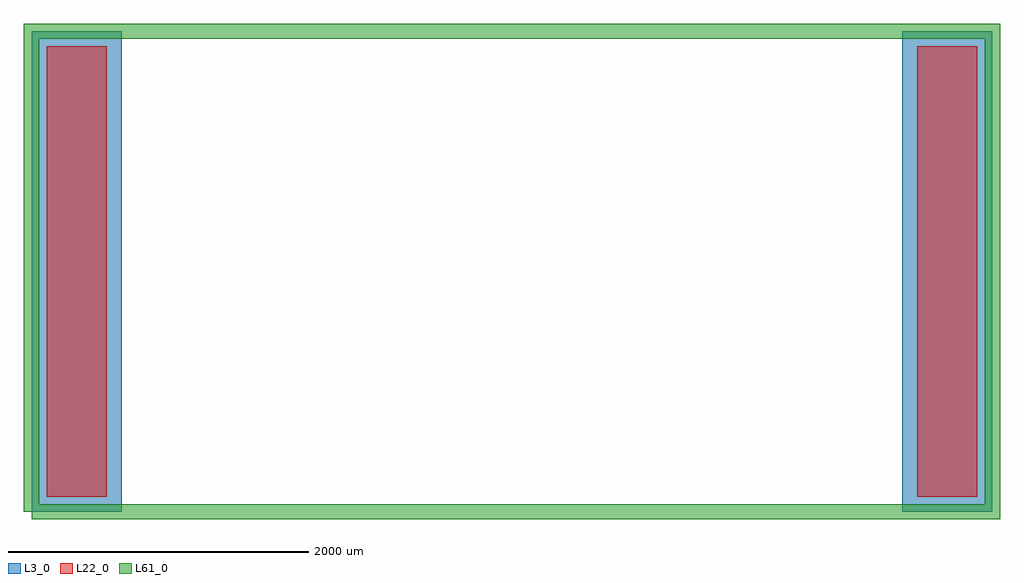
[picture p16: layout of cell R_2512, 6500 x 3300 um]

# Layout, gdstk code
import gdstk
lib = gdstk.Library(unit=1e-6, precision=1e-09)
def R(c, l, rs):  # rectangles x0, y0, x1, y1
    for r in rs: c.add(gdstk.rectangle(r[:2], r[2:], *l))
L3_0 = (3, 0)
L22_0 = (22, 0)
L61_0 = (61, 0)

r_2512 = lib.new_cell('R_2512')
R(r_2512, L3_0, [(-3200,-1600,-2600,1600), (2600,-1600,3200,1600)])
R(r_2512, L22_0, [(-3100,-1500,-2700,1500), (2700,-1500,3100,1500)])
r_2512.add(gdstk.FlexPath([(-3200,-1600),(3200,-1600),(3200,1600),(-3200,1600),(-3200,-1600)], 100, ends="flush", simple_path=True, layer=61, datatype=0))  # L61_0

lib.write_gds('R_2512.gds')
